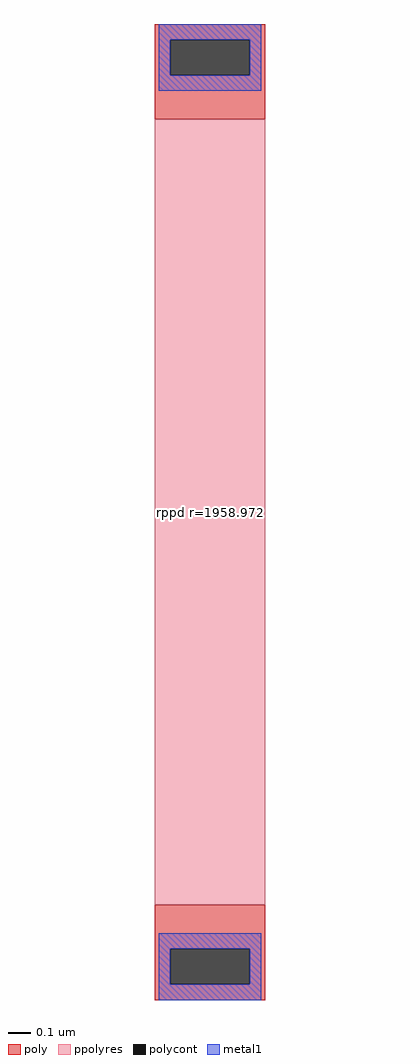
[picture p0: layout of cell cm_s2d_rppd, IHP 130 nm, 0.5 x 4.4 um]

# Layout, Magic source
magic
tech ihp-sg13cmos5l
<< poly >>
rect 0 390 50 397
rect 0 374 7 390
rect 43 374 50 390
rect 0 354 50 374
rect 0 -20 50 0
rect 0 -36 7 -20
rect 43 -36 50 -20
rect 0 -43 50 -36
<< polycont >>
rect 7 374 43 390
rect 7 -36 43 -20
<< ppolyres >>
rect 0 0 50 354
<< metal1 >>
rect 2 390 48 397
rect 2 374 7 390
rect 43 374 48 390
rect 2 367 48 374
rect 2 -20 48 -13
rect 2 -36 7 -20
rect 43 -36 48 -20
rect 2 -43 48 -36
<< labels >>
flabel comment s 25 177 25 177 0 FreeSans 100 90 0 0 rppd r=1958.972
<< properties >>
string GDS_END 867128
string GDS_FILE custom_io/gds/sg13cmos5l_IOPadSingle2Diff.uniq.gds
string GDS_START 865756
string MASKHINTS_CONTBAR 7 374 43 390 7 -36 43 -20
<< end >>
